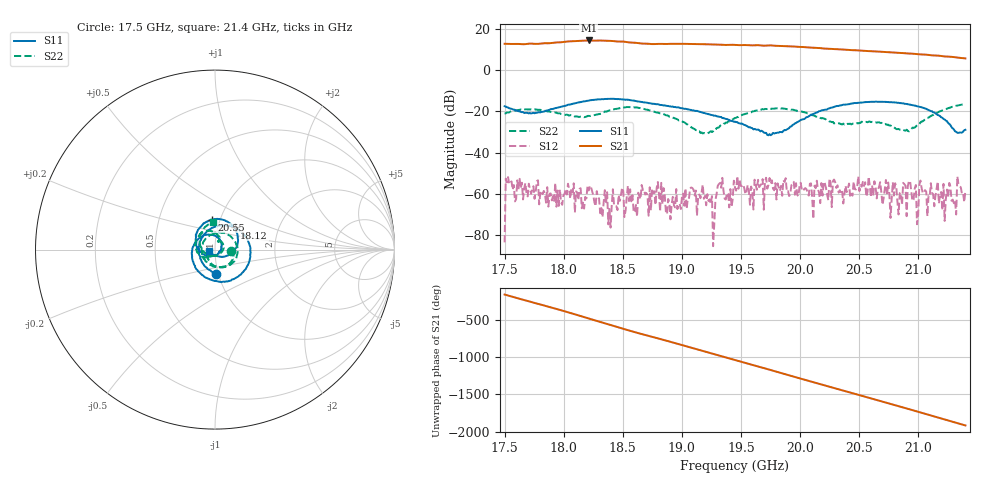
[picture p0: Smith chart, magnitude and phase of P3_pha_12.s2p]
!Created with skrf (http://scikit-rf.org).
# GHz S RI R 50.0
!freq ReS11 ImS11 ReS21 ImS21 ReS12 ImS12 ReS22 ImS22
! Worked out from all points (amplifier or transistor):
!   401 points, 17.5 GHz to 21.4 GHz, reference 50 ohm
!   highest |S21| = 14.5 dB at 18.21 GHz (marker M1)
!   |S21| within 3 dB of that: start of sweep to 19.97 GHz
!   unconditionally stable (mu >= 1): start of sweep to end of sweep
!   at 18.14 GHz: K = 68.19, MAG = 14.5 dB, |S12| = -57.3 dB
!   at 19.45 GHz: K = 84.96, MAG = 12.3 dB, |S12| = -57.0 dB
!   at 21.4 GHz: K = 206.41, MAG = 5.9 dB, |S12| = -58.3 dB
!   S11 on the Smith chart (normalised r, x): 17.5 GHz: 0.97, -0.26; 18.12 GHz: 1.20, +0.31; 20.55 GHz: 0.91, +0.31; 21.4 GHz: 0.93, -0.01
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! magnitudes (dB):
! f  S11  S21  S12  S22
! 17.5 GHz  -17.5  12.9  -83.6  -21.0
! 17.53 GHz  -18.1  12.8  -51.9  -20.4
! 18.12 GHz  -15.7  14.3  -63.0  -22.6
! 18.15 GHz  -15.4  14.3  -67.0  -22.5
! 18.21 GHz  -14.7  14.5  -58.4  -22.2
! 18.39 GHz  -13.9  14.3  -67.4  -19.5
! 18.48 GHz  -14.1  14.0  -60.5  -18.3
! 18.6 GHz  -14.9  13.4  -69.1  -18.1
! 18.65 GHz  -15.3  13.0  -62.6  -18.4
! 18.81 GHz  -16.6  12.8  -59.9  -20.8
! 18.88 GHz  -17.3  12.8  -62.5  -22.1
! 19.09 GHz  -19.5  12.8  -57.2  -28.0
! 19.26 GHz  -21.9  12.5  -85.4  -29.6
! 19.32 GHz  -22.7  12.4  -54.7  -27.1
! 19.41 GHz  -24.5  12.3  -57.7  -24.5
! 19.45 GHz  -25.0  12.3  -57.0  -23.2
! 19.59 GHz  -28.0  12.1  -56.5  -20.5
! 19.74 GHz  -31.0  12.1  -52.3  -18.5
! 20.1 GHz  -21.5  11.0  -62.0  -21.8
! 20.55 GHz  -15.5  9.4  -54.4  -25.1
! 20.76 GHz  -15.5  8.7  -60.2  -26.8
! 21.4 GHz  -28.9  5.7  -58.3  -16.3
